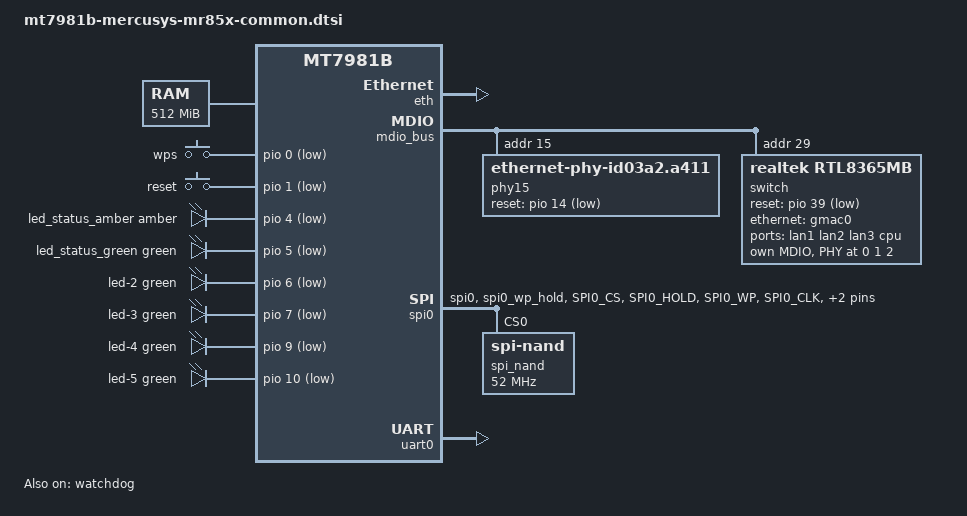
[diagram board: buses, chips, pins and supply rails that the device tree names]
// SPDX-License-Identifier: GPL-2.0

/dts-v1/;
#include <dt-bindings/gpio/gpio.h>
#include <dt-bindings/input/input.h>
#include <dt-bindings/leds/common.h>

#include "mt7981b.dtsi"

/ {
	aliases {
		led-boot = &led_status_green;
		led-failsafe = &led_status_amber;
		led-running = &led_status_green;
		led-upgrade = &led_status_green;

		serial0 = &uart0;
	};

	chosen {
		stdout-path = "serial0:115200n8";
	};

	memory@40000000 {
		reg = <0 0x40000000 0 0x20000000>;
		device_type = "memory";
	};

	keys {
		compatible = "gpio-keys";

		button-0 {
			label = "wps";
			linux,code = <KEY_WPS_BUTTON>;
			gpios = <&pio 0 GPIO_ACTIVE_LOW>;
		};

		button-1 {
			label = "reset";
			linux,code = <KEY_RESTART>;
			gpios = <&pio 1 GPIO_ACTIVE_LOW>;
		};
	};

	leds {
		compatible = "gpio-leds";

		led_status_amber: led-0 {
			color = <LED_COLOR_ID_AMBER>;
			function = LED_FUNCTION_STATUS;
			gpios = <&pio 4 GPIO_ACTIVE_LOW>;
		};

		led_status_green: led-1 {
			color = <LED_COLOR_ID_GREEN>;
			function = LED_FUNCTION_STATUS;
			gpios = <&pio 5 GPIO_ACTIVE_LOW>;
		};

		led-2 {
			color = <LED_COLOR_ID_GREEN>;
			function = LED_FUNCTION_LAN;
			function-enumerator = <1>;
			gpios = <&pio 6 GPIO_ACTIVE_LOW>;
		};

		led-3 {
			color = <LED_COLOR_ID_GREEN>;
			function = LED_FUNCTION_LAN;
			function-enumerator = <2>;
			gpios = <&pio 7 GPIO_ACTIVE_LOW>;
		};

		led-4 {
			color = <LED_COLOR_ID_GREEN>;
			function = LED_FUNCTION_WAN;
			gpios = <&pio 9 GPIO_ACTIVE_LOW>;
		};

		led-5 {
			color = <LED_COLOR_ID_GREEN>;
			function = LED_FUNCTION_LAN;
			function-enumerator = <3>;
			gpios = <&pio 10 GPIO_ACTIVE_LOW>;
		};
	};
};

&eth {
	status = "okay";

	gmac0: mac@0 {
		compatible = "mediatek,eth-mac";
		reg = <0>;
		phy-mode = "2500base-x";

		fixed-link {
			speed = <2500>;
			full-duplex;
			pause;
		};
	};

	gmac1: mac@1 {
		compatible = "mediatek,eth-mac";
		reg = <1>;
		phy-mode = "2500base-x";
		phy-handle = <&phy15>;

		openwrt,netdev-name = "wan";
	};
};

&mdio_bus {
	phy15: phy@f {
		compatible = "ethernet-phy-id03a2.a411";
		reg = <15>;

		reset-gpios = <&pio 14 GPIO_ACTIVE_LOW>;
		reset-delay-us = <200000>;
		reset-post-delay-us = <1000000>;

		phy-mode = "2500base-x";
		full-duplex;
		pause;
	};

	switch@1d {
		compatible = "realtek,rtl8365mb";
		reg = <29>;
		reset-gpios = <&pio 39 GPIO_ACTIVE_LOW>;

		mdio {
			#address-cells = <1>;
			#size-cells = <0>;

			phy0: ethernet-phy@0 {
				reg = <0>;
			};

			phy1: ethernet-phy@1 {
				reg = <1>;
			};

			phy2: ethernet-phy@2 {
				reg = <2>;
			};
		};

		ports {
			#address-cells = <1>;
			#size-cells = <0>;

			port@0 {
				reg = <0>;
				label = "lan1";
				phy-handle = <&phy0>;
			};

			port@1 {
				reg = <1>;
				label = "lan2";
				phy-handle = <&phy1>;
			};

			port@2 {
				reg = <2>;
				label = "lan3";
				phy-handle = <&phy2>;
			};

			port@6 {
				reg = <6>;
				label = "cpu";
				ethernet = <&gmac0>;
				phy-mode = "2500base-x";

				fixed-link {
					speed = <2500>;
					full-duplex;
					pause;
				};
			};
		};
	};
};

&spi0 {
	pinctrl-names = "default";
	pinctrl-0 = <&spi0_flash_pins>;
	status = "okay";

	spi_nand@0 {
		#address-cells = <1>;
		#size-cells = <1>;
		compatible = "spi-nand";
		reg = <0>;

		spi-max-frequency = <52000000>;
		spi-tx-buswidth = <4>;
		spi-rx-buswidth = <4>;

		partitions: partitions {
			compatible = "fixed-partitions";
			#address-cells = <1>;
			#size-cells = <1>;
		};
	};
};

&pio {
	spi0_flash_pins: spi0-pins {
		mux {
			function = "spi";
			groups = "spi0", "spi0_wp_hold";
		};

		conf-pu {
			pins = "SPI0_CS", "SPI0_HOLD", "SPI0_WP";
			drive-strength = <MTK_DRIVE_8mA>;
			bias-pull-up = <MTK_PUPD_SET_R1R0_11>;
		};

		conf-pd {
			pins = "SPI0_CLK", "SPI0_MOSI", "SPI0_MISO";
			drive-strength = <MTK_DRIVE_8mA>;
			bias-pull-down = <MTK_PUPD_SET_R1R0_11>;
		};
	};
};

&uart0 {
	status = "okay";
};

&watchdog {
	status = "okay";
};
